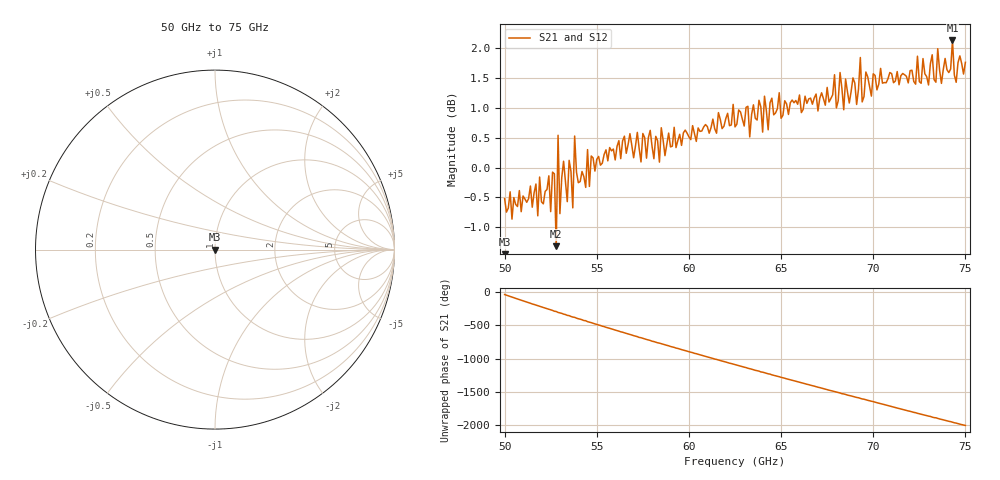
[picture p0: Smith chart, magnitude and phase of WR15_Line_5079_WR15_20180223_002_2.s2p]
# GHZ S RI R 50
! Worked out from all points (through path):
!   251 points, 50 GHz to 75 GHz, reference 50 ohm
!   highest |S21| = 2.13 dB at 74.3 GHz (marker M1); lowest = -1.3 dB at 52.8 GHz (marker M2)
!   lowest |S11| = - dB at 50 GHz (marker M3), VSWR 1.00, Z = 50 + j1.8e-15 ohm
!   |S11| at or under -10 dB: start of sweep to end of sweep
!   |S22| runs from - to - dB; largest |S21 - S12| = 1e-14
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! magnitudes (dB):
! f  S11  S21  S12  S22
! 50 GHz  -  -0.5  -0.5  -
! 51.8 GHz  -  -0.8  -0.8  -
! 52.4 GHz  -  -0.1  -0.1  -
! 52.5 GHz  -  -0.7  -0.7  -
! 52.7 GHz  -  -0.1  -0.1  -
! 52.8 GHz  -  -1.3  -1.3  -
! 52.9 GHz  -  0.5  0.5  -
! 53 GHz  -  -0.8  -0.8  -
! 53.2 GHz  -  0.1  0.1  -
! 53.7 GHz  -  -0.7  -0.7  -
! 53.8 GHz  -  0.5  0.5  -
! 54.2 GHz  -  -0.1  -0.1  -
! 58.4 GHz  -  0.1  0.1  -
! 58.5 GHz  -  0.7  0.7  -
! 62.5 GHz  -  0.7  0.7  -
! 66.7 GHz  -  1.1  1.1  -
! 70.9 GHz  -  1.6  1.6  -
! 73.5 GHz  -  2.0  2.0  -
! 73.7 GHz  -  1.4  1.4  -
! 74.3 GHz  -  2.1  2.1  -
! 74.5 GHz  -  1.4  1.4  -
! 75 GHz  -  1.8  1.8  -
